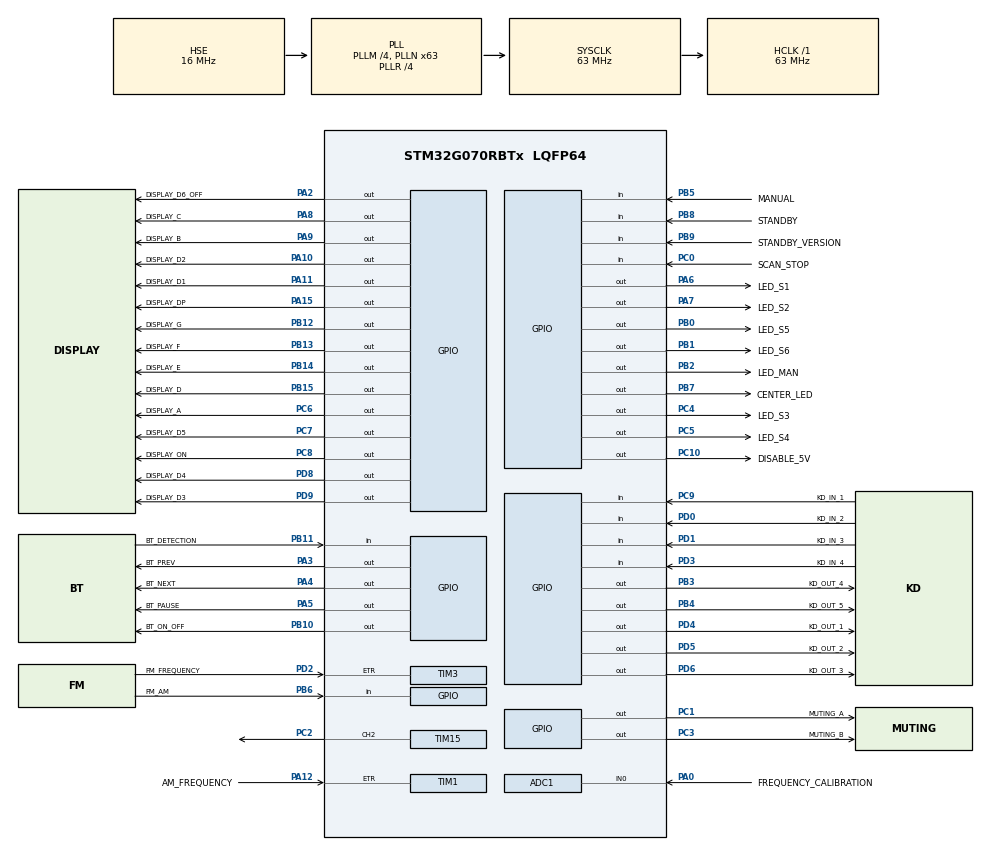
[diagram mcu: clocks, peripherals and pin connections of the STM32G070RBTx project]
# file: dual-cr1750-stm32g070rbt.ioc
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SH.S_TIM1_ETR.0=TIM1_ETR,ClockSourceETR_Mode2
PA12\ [PA10].GPIO_Label=AM_FREQUENCY
PB14.GPIO_Label=DISPLAY_E
PC6.GPIO_Label=DISPLAY_A
VP_RTC_VS_RTC_Activate.Mode=RTC_Enabled
PA6.GPIO_Label=LED_S1
PB6.GPIO_Label=FM_AM
PC15-OSC32_OUT\ (PC15).Mode=LSE-External-Oscillator
PB13.Signal=GPIO_Output
PD6.GPIO_Label=KD_OUT_3
PF0-OSC_IN\ (PF0).Signal=RCC_OSC_IN
RCC.SYSCLKSource=RCC_SYSCLKSOURCE_PLLCLK
PC14-OSC32_IN\ (PC14).Mode=LSE-External-Oscillator
PA12\ [PA10].Signal=S_TIM1_ETR
PD4.Signal=GPIO_Output
PB6.Signal=GPIO_Input
PC7.Signal=GPIO_Output
PC3.Signal=GPIO_Output
PD0.Signal=GPIO_Input
PD8.Signal=GPIO_Output
PC1.PinState=GPIO_PIN_SET
PB2.Signal=GPIO_Output
PC1.GPIO_PuPd=GPIO_PULLUP
RCC.RTCClockSelection=RCC_RTCCLKSOURCE_LSE
PD1.GPIO_Label=KD_IN_3
TIM15.Period=17500
PB12.GPIO_Label=DISPLAY_G
PC4.GPIO_Label=LED_S3
TIM15.Channel-PWM\ Generation2\ CH2=TIM_CHANNEL_2
PB1.GPIO_Label=LED_S6
PA0.Mode=IN0
PA8.Signal=GPIO_Output
ADC1.SamplingTime-0\#ChannelRegularConversion=ADC_SAMPLINGTIME_COMMON_1
PA0.Signal=ADC1_IN0
Mcu.Package=LQFP64
PB9.Signal=GPIO_Input
PB1.Signal=GPIO_Output
PA10.Signal=GPIO_Output
PB9.GPIO_PuPd=GPIO_PULLDOWN
VP_TIM14_VS_ClockSourceINT.Mode=Enable_Timer
TIM16.Prescaler=1000
NVIC.TIM15_IRQn=true\:0\:0\:false\:false\:true\:true\:true
PA4.GPIO_Label=BT_NEXT
ADC1.Rank-0\#ChannelRegularConversion=1
PD9.GPIO_Label=DISPLAY_D3
PC4.PinState=GPIO_PIN_RESET
TIM3.AutoReloadPreload=TIM_AUTORELOAD_PRELOAD_ENABLE
PA9.GPIO_Label=DISPLAY_B
PB6.GPIO_PuPd=GPIO_PULLUP
PD3.Signal=GPIO_Input
PC6.Signal=GPIO_Output
PC2.Signal=S_TIM15_CH2
PB11.GPIO_Label=BT_DETECTION
PD1.Signal=GPIO_Input
VP_TIM16_VS_ClockSourceINT.Mode=Enable_Timer
NVIC.TIM16_IRQn=true\:0\:0\:false\:false\:true\:true\:true
PC0.Signal=GPIO_Input
PF0-OSC_IN\ (PF0).Mode=HSE-External-Oscillator
TIM1.AutoReloadPreload=TIM_AUTORELOAD_PRELOAD_ENABLE
PB8.GPIO_Label=STANDBY
PA8.GPIO_Label=DISPLAY_C
PA9.Signal=GPIO_Output
PB10.Signal=GPIO_Output
PB14.Signal=GPIO_Output
PA5.Signal=GPIO_Output
TIM15.Pulse-PWM\ Generation2\ CH2=200
NVIC.TIM3_IRQn=true\:0\:0\:false\:false\:true\:true\:true
PB4.GPIO_Label=KD_OUT_5
PB15.GPIO_Label=DISPLAY_D
PA13.Mode=Serial_Wire
TIM14.Prescaler=500
NVIC.TIM1_CC_IRQn=true\:0\:0\:false\:false\:true\:true\:true
PC7.GPIO_Label=DISPLAY_D5
PA4.Signal=GPIO_Output
PB5.Signal=GPIO_Input
ADC1.master=1
PF1-OSC_OUT\ (PF1).Signal=RCC_OSC_OUT
PA5.GPIO_Label=BT_PAUSE
PB5.GPIO_PuPd=GPIO_PULLUP
ProjectManager.HeapSize=0x200
PC3.GPIO_Label=MUTING_B
PD2.Signal=S_TIM3_ETR
PB0.Signal=GPIO_Output
NVIC.TIM1_BRK_UP_TRG_COM_IRQn=true\:0\:0\:false\:false\:true\:true\:true
PC1.Signal=GPIO_Output
PD2.GPIO_Label=FM_FREQUENCY
Mcu.Family=STM32G0
TIM15.AutoReloadPreload=TIM_AUTORELOAD_PRELOAD_ENABLE
RCC.CortexFreq_Value=63000000
TIM14.AutoReloadPreload=TIM_AUTORELOAD_PRELOAD_ENABLE
PA11\ [PA9].GPIO_Label=DISPLAY_D1
PC10.Signal=GPIO_Output
PA0.GPIO_Label=FREQUENCY_CALIBRATION
PA14-BOOT0.Mode=Serial_Wire
PD0.GPIO_Label=KD_IN_2
PC0.GPIO_Label=SCAN_STOP
PB0.GPIO_Label=LED_S5
PB11.GPIO_PuPd=GPIO_PULLUP
PB13.GPIO_Label=DISPLAY_F
PB11.Signal=GPIO_Input
PB15.Signal=GPIO_Output
ProjectManager.StackSize=0x400
PC3.PinState=GPIO_PIN_SET
SH.S_TIM15_CH2.0=TIM15_CH2,PWM Generation2 CH2
VP_TIM7_VS_ClockSourceINT.Mode=Enable_Timer
PA15.GPIO_Label=DISPLAY_DP
TIM15.Prescaler=0
RCC.HCLKFreq_Value=63000000
ADC1.Resolution=ADC_RESOLUTION_12B
TIM7.Period=250
RCC.AHBFreq_Value=63000000
PA14-BOOT0.Signal=SYS_SWCLK
ADC1.Channel-0\#ChannelRegularConversion=ADC_CHANNEL_0
RCC.HSE_VALUE=16000000
TIM14.Period=1000
PA10.GPIO_Label=DISPLAY_D2
VP_SYS_VS_DBSignals.Mode=DisableDeadBatterySignals
PB7.Signal=GPIO_Output
TIM6.Period=900
PF1-OSC_OUT\ (PF1).Mode=HSE-External-Oscillator
PB7.GPIO_Label=CENTER_LED
ADC1.SelectedChannel=ADC_CHANNEL_0
PA6.Signal=GPIO_Output
RCC.EnbaleCSS=true
PD5.GPIO_Label=KD_OUT_2
PA2.GPIO_Label=DISPLAY_D6_OFF
PA15.Signal=GPIO_Output
PB5.GPIO_Label=MANUAL
PC5.Signal=GPIO_Output
PD3.GPIO_Label=KD_IN_4
PC0.GPIO_PuPd=GPIO_PULLUP
PD6.Signal=GPIO_Output
NVIC.TIM7_IRQn=true\:0\:0\:false\:false\:true\:true\:true
PB4.Signal=GPIO_Output
PA3.Signal=GPIO_Output
PB3.GPIO_Label=KD_OUT_4
RCC.PLLSourceVirtual=RCC_PLLSOURCE_HSE
NVIC.TIM14_IRQn=true\:0\:0\:false\:false\:true\:true\:true
PB9.GPIO_Label=STANDBY_VERSION
PC10.GPIO_Label=DISABLE_5V
PC9.GPIO_Label=KD_IN_1
PC4.GPIO_PuPd=GPIO_NOPULL
PC8.Signal=GPIO_Output
TIM6.Prescaler=1000
PC4.Signal=GPIO_Output
VP_TIM6_VS_ClockSourceINT.Mode=Enable_Timer
RCC.EXTERNAL_CLOCK_VALUE=48000
PD5.Signal=GPIO_Output
PD9.Signal=GPIO_Output
PC15-OSC32_OUT\ (PC15).Signal=RCC_OSC32_OUT
NVIC.TIM6_IRQn=true\:0\:0\:false\:false\:true\:true\:true
PD8.GPIO_Label=DISPLAY_D4
PC8.GPIO_Label=DISPLAY_ON
PA13.Signal=SYS_SWDIO
ProjectManager.TargetToolchain=STM32CubeIDE
PB10.GPIO_Label=BT_ON_OFF
TIM7.Prescaler=500
board=custom
RCC.VCOOutputFreq_Value=252000000
TIM16.Period=900
PD4.GPIO_Label=KD_OUT_1
RCC.ADCFreq_Value=63000000
PC1.GPIO_Label=MUTING_A
ADC1.NbrOfConversion=1
Mcu.Name=STM32G070RBTx
PA11\ [PA9].Signal=GPIO_Output
SH.S_TIM3_ETR.0=TIM3_ETR,ClockSourceETR_Mode2
PA2.Signal=GPIO_Output
PB3.Signal=GPIO_Output
RCC.SYSCLKFreq_VALUE=63000000
PA7.GPIO_Label=LED_S2
PC5.GPIO_Label=LED_S4
PC14-OSC32_IN\ (PC14).Signal=RCC_OSC32_IN
VP_TIM15_VS_ClockSourceINT.Mode=Internal
PB2.GPIO_Label=LED_MAN
RCC.HSI_VALUE=16000000
PC1.GPIO_ModeDefaultOutputPP=GPIO_MODE_OUTPUT_PP
RCC.PLLR=RCC_PLLR_DIV4
ADC1.NbrOfConversionFlag=1
RCC.PLLM=RCC_PLLM_DIV4
RCC.PLLN=63
PB8.Signal=GPIO_Input
PC9.Signal=GPIO_Input
PB12.Signal=GPIO_Output
PA3.GPIO_Label=BT_PREV
PA7.Signal=GPIO_Output

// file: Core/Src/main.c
/* USER CODE BEGIN Header */
/**
  ******************************************************************************
  * @file           : main.c
  * @brief          : Main program body
  ******************************************************************************
  * @attention
  *
  * <h2><center>&copy; Copyright (c) 2021 STMicroelectronics.
  * All rights reserved.</center></h2>
  *
  * This software component is licensed by ST under BSD 3-Clause license,
  * the "License"; You may not use this file except in compliance with the
  * License. You may obtain a copy of the License at:
  *                        opensource.org/licenses/BSD-3-Clause
  *
  ******************************************************************************
  */
/* USER CODE END Header */
#include "main.h"

/* USER CODE BEGIN Includes */
#include <math.h>
#include <string.h>
#include <stdbool.h>
#include <stdlib.h>

#include "display.h"
#include "station.h"
#include "keydecoder.h"
#include "misc.h"

/* USER CODE END Includes */

ADC_HandleTypeDef hadc1;

RTC_HandleTypeDef hrtc;

TIM_HandleTypeDef htim1;
TIM_HandleTypeDef htim3;
TIM_HandleTypeDef htim6;
TIM_HandleTypeDef htim7;
TIM_HandleTypeDef htim14;
TIM_HandleTypeDef htim15;
TIM_HandleTypeDef htim16;

/* USER CODE BEGIN PV */
RTC_TimeTypeDef TIME = {0};
RTC_DateTypeDef DATE = {0};

int a = 4250;

double FREQUENCY_CALIBRATION = 0.9975;
int FM_FREQUENCY = 8750;
int FM_FREQUENCY_COUNTER = 0;
bool FM_FREQUENCY_COUNTER_UPDATED = false;

Mode MODE = OTHER;
bool CLOCK = false;
int STATION = -1;
bool BLUETOOTH = false;
bool BLUETOOTH_ON = false;

bool STANDBY = true;
bool STANDBY_DISPLAY_ON = true;

bool SET_BUTTON = false;
bool MEMORY_BUTTON = false;

bool LOCK_FREQUENCY = true;
bool SCAN_STOP = false;

int AM_FREQUENCY = 531;
int AM_FREQUENCY_COUNTER = 0;

int OFF_COUNTER = 0;
bool COLD_START = true;

int calculateFMFrequencyControlCounterPeriod(bool fastMode)
{
	// PFUI!
	int fm_difference = abs(FM_FREQUENCY - FM_FREQUENCY_COUNTER);

	int arr = 0;
	if (fastMode)
	{
		arr = 2500 - 500 * fm_difference;
		arr = arr < 250 ? 250 : arr;
	}
	else
	{
		arr = 3500 - abs(1.05 + 0.05 * fm_difference + 0.75 * exp(fm_difference));
		arr = arr < 250 ? 250 : arr;
	}

	return arr;
}

int calculateFMFrequencyControlCounterPrescaler(bool fastMode)
{
	// PFUI!
	double psc = 5000 - ((4 * FM_FREQUENCY_COUNTER) / 9);//4200 - 0.3675 * FM_FREQUENCY_COUNTER;
	if (fastMode)
	{
		psc = psc / 2;
		psc = psc < 110 ? 110 : psc;
	}
	else
	{
		psc = psc * 2.75;
	}

	return psc;
}

void stopFrequencyControl()
{
	HAL_TIM_Base_Stop_IT(&htim14);
}

void startFrequencyControl()
{
	HAL_TIM_Base_Start_IT(&htim14);
}

void HAL_TIM_PeriodElapsedCallback(TIM_HandleTypeDef *htim)
{
	if (htim->Instance == TIM6)
	{
		// 64 = PRESCALER / 7 = DEPENDING ON CPU-FREQUENCY / 10.7 MHz = IF
		FM_FREQUENCY_COUNTER = (((TIM3->CNT * 64 * 7 * FREQUENCY_CALIBRATION) - 1070000) / 1000.0);
		FM_FREQUENCY_COUNTER_UPDATED = true;

		TIM3->CNT = 0;
		TIM6->CNT = 0;
	}

	if (htim->Instance == TIM16)
	{
		// 7 = DEPENDING ON CPU-FREQUENCY / 455 kHz = IF
		AM_FREQUENCY_COUNTER = ((TIM1->CNT * 7 * FREQUENCY_CALIBRATION) / 100.0) - 455;

		TIM1->CNT = 0;
		TIM16->CNT = 0;
	}
	else if (htim->Instance == TIM7)
	{
		int display_value = 0;
		if (CLOCK)
		{
			if (!SET_BUTTON)
			{
				HAL_RTC_GetTime(&hrtc, &TIME, RTC_FORMAT_BIN);
				HAL_RTC_GetDate(&hrtc, &DATE, RTC_FORMAT_BIN);
			}

			display_value = TIME.Hours*100 + TIME.Minutes;
		}
		else if (MODE == FM)
		{
			display_value = SET_BUTTON && !CLOCK ? FM_FREQUENCY_COUNTER : FM_FREQUENCY;
		}
		else
		{
			display_value = SET_BUTTON && !CLOCK ? AM_FREQUENCY_COUNTER : AM_FREQUENCY;
		}

		if (OFF_COUNTER > 0)
		{
			display_show_off();
			OFF_COUNTER -= 1;
		}
		else if (!CLOCK && MODE == AM && BLUETOOTH && STATION == 0)
		{
			display_show_bluetooth();
		}
		else
		{
			display(display_value, (CLOCK && TIME.Seconds %2 == 1) || (!CLOCK && MODE == FM));
		}
	}
	else if (htim->Instance == TIM14)
	{
		if (MODE == FM)
		{
			TIM14->PSC = calculateFMFrequencyControlCounterPrescaler(!LOCK_FREQUENCY);
			TIM14->ARR = calculateFMFrequencyControlCounterPeriod(true);

			SCAN_STOP = !SCAN_STOP ? HAL_GPIO_ReadPin(GPIOC, SCAN_STOP_Pin) : true;

			if (TIM15->CCR2 < TIM15->ARR && FM_FREQUENCY < FM_FREQUENCY_COUNTER)
			{
				TIM15->CCR2++;
			}
			else if (TIM15->CCR2 > 0 && FM_FREQUENCY > FM_FREQUENCY_COUNTER)
			{
				TIM15->CCR2--;
			}

			// SCAN EMERGENCY-STOP
			if ((TIM15->CCR2 == 0) || (TIM15->CCR2 == TIM15->ARR))
			{
				FM_FREQUENCY = ((int)(FM_FREQUENCY_COUNTER / 10)) * 10;
				SCAN_STOP = true;
			}
		}
		else if (MODE == AM)
		{
			int am_difference = abs(AM_FREQUENCY - AM_FREQUENCY_COUNTER);
			int arr = 1500 - 175 * am_difference;
			int psc = 3500 - 0.5 * AM_FREQUENCY_COUNTER;
			TIM14->PSC = psc < 150 ? 150 : psc;
			TIM14->ARR = arr < 50 ? 50 : arr;

			if (TIM15->CCR2 < TIM15->ARR && AM_FREQUENCY < AM_FREQUENCY_COUNTER)
			{
				TIM15->CCR2++;
			}
			else if (TIM15->CCR2 > 0 && AM_FREQUENCY > AM_FREQUENCY_COUNTER)
			{
				TIM15->CCR2--;
			}
		}
	}
}

/* USER CODE END PV */

void SystemClock_Config(void);
static void MX_GPIO_Init(void);
static void MX_ADC1_Init(void);
static void MX_TIM1_Init(void);
static void MX_TIM3_Init(void);
static void MX_TIM6_Init(void);
static void MX_TIM14_Init(void);
static void MX_TIM7_Init(void);
static void MX_RTC_Init(void);
static void MX_TIM15_Init(void);
static void MX_TIM16_Init(void);

/* USER CODE BEGIN 0 */
void saveFMStation()
{
	uint32_t dc = TIM15->CCR2;
	HAL_Delay(100);
	station_fm_set(STATION, FM_FREQUENCY, dc);
}

void saveAMStation()
{
	station_am_set(STATION, AM_FREQUENCY, TIM15->CCR2);
}

void setStation(int number, bool force)
{
	station_led(number);

	Mode mode = misc_get_mode(AM_FREQUENCY_COUNTER);
	bool modeChangedToFM = mode == FM && MODE != FM;
	bool modeChangedToAM = mode == AM && MODE != AM;

	if (modeChangedToFM || MODE == FM && (STATION != number || force))
	{
		setFMStation(number);
	}
	else if (modeChangedToAM || MODE == AM && (STATION != number || force))
	{
		setAMStation(number);
	}
}

void setFMStation(int number)
{
	STATION = number;
	misc_mute(true);

	stopFrequencyControl();
	struct Station station = station_fm_get(number);
	FM_FREQUENCY = station.Frequency;
	TIM15->CCR2 = station.DutyCycle;

	HAL_GPIO_WritePin(GPIOB, CENTER_LED_Pin, GPIO_PIN_SET);

	FM_FREQUENCY_COUNTER_UPDATED = false;
	while (!FM_FREQUENCY_COUNTER_UPDATED);
	FM_FREQUENCY_COUNTER_UPDATED = false;

	startFrequencyControl();

	int i = 0;
	LOCK_FREQUENCY = false;
	for(; i < 500 && abs(FM_FREQUENCY - FM_FREQUENCY_COUNTER) > 2; i++)
	{
		HAL_Delay(1);
	}
	LOCK_FREQUENCY = true;

	HAL_Delay(500 - i);
	misc_mute(false);
	HAL_GPIO_WritePin(GPIOB, CENTER_LED_Pin, GPIO_PIN_RESET);
}

void setAMStation(int number)
{
	STATION = number;
	misc_mute(true);

	struct Station station = station_am_get(number);
	AM_FREQUENCY = station.Frequency;
	TIM15->CCR2 = station.DutyCycle;

	HAL_Delay(500);
	misc_mute(false);
}

double getCalibrationValue()
{
	uint32_t y = 0;

	for (int i = 0; i < 5; i++)
	{
		HAL_ADC_Start(&hadc1);
		HAL_ADC_PollForConversion(&hadc1, HAL_MAX_DELAY);
		int x = HAL_ADC_GetValue(&hadc1);

		y += x / 5;
	}

	// +/- 0.5%
	double value = 0.995 + 0.000002442 * y;

	return value;
}

void enable_5volt(bool on)
{
	HAL_GPIO_WritePin(GPIOC, DISABLE_5V_Pin, on);
}

/* USER CODE END 0 */

int main(void)
{

  /* MCU Configuration--------------------------------------------------------*/

  /* Reset of all peripherals, Initializes the Flash interface and the Systick. */
  HAL_Init();

  /* Configure the system clock */
  SystemClock_Config();

  /* Initialize all configured peripherals */
  MX_GPIO_Init();
  MX_ADC1_Init();
  MX_TIM1_Init();
  MX_TIM3_Init();
  MX_TIM6_Init();
  MX_TIM14_Init();
  MX_TIM7_Init();
  MX_RTC_Init();
  MX_TIM15_Init();
  MX_TIM16_Init();
  /* USER CODE BEGIN 2 */
  misc_mute(true);

  HAL_TIM_Base_Start(&htim1); 					// AM FRECQUENCY ETR
  HAL_TIM_Base_Start(&htim3); 					// FM FRECQUENCY ETR
  HAL_TIM_Base_Start_IT(&htim6); 				// FM FRECQUENCY COUNT PERIOD
  HAL_TIM_Base_Start_IT(&htim16); 				// AM FRECQUENCY COUNT PERIOD
  HAL_TIM_Base_Start_IT(&htim7);				// DISPLAY MULTIPLEXING
  HAL_TIM_PWM_Start(&htim15, TIM_CHANNEL_2); 	// TUNING VOLTAGE PWM
  startFrequencyControl();

  display_on(true);
  enable_5volt(true);
  MODE = misc_get_mode(AM_FREQUENCY_COUNTER);
  BLUETOOTH = misc_bt_is_present();
  /* USER CODE END 2 */

  /* Infinite loop */
  /* USER CODE BEGIN WHILE */
  while (1)
  {
	  FREQUENCY_CALIBRATION = getCalibrationValue();

	  bool standby = misc_is_standby();
	  bool poweredOn = STANDBY && !standby;
	  bool poweredOff = !STANDBY && standby;
	  if (poweredOn)
	  {
		  STANDBY = false;
		  OFF_COUNTER = 0;
		  enable_5volt(true);
		  display_on(true);
		  startFrequencyControl();

		  // Standby detection is delayed, set station again to prevent timer duty cycle drift.
		  setStation(STATION, true);
	  }
	  else if (poweredOff)
	  {
		  STANDBY = true;

		  if (COLD_START)
		  {
			  OFF_COUNTER = 1000;
			  COLD_START = false;
		  }

		  enable_5volt(false);
		  display_on(STANDBY_DISPLAY_ON);
		  stopFrequencyControl();
	  }

	  Mode mode = misc_get_mode(AM_FREQUENCY_COUNTER);
	  bool modeChangedToOther = mode == OTHER && MODE != OTHER;
	  bool modeChangedToFMorAM = (mode == FM && MODE != FM) || (mode == AM && MODE != AM);
	  MODE = mode;

	  if (modeChangedToOther)
	  {
		  stopFrequencyControl();
	  }
	  else if (modeChangedToFMorAM)
	  {
		  // Mode detection is delayed, set station again to prevent timer duty cycle drift.
		  setStation(STATION, true);
		  startFrequencyControl();
	  }

	  keydecoder_out(1);
	  CLOCK = keydecoder_in(1);
	  SET_BUTTON = keydecoder_in(2);

	  keydecoder_out(2);
	  if (!STANDBY && keydecoder_in(2) && keydecoder_in(3))
	  {
		  // TUNING UP QUICK
		  LOCK_FREQUENCY = false;
		  if (MODE == FM && FM_FREQUENCY < 10800)
		  {
			  FM_FREQUENCY += 5;
			  HAL_Delay(30);
		  }
		  else if (MODE == AM && AM_FREQUENCY < 1602 && !BLUETOOTH)
		  {
			  AM_FREQUENCY += 9;
			  HAL_Delay(50);
		  }
		  else if (MODE == AM && BLUETOOTH && STATION == 0)
		  {
			  misc_bt_pause();
		  }
		  LOCK_FREQUENCY = true;
	  }
	  else if (!STANDBY && keydecoder_in(2) && keydecoder_in(4))
	  {
		  // TUNING DOWN QUICK
		  LOCK_FREQUENCY = false;
		  if (MODE == FM && FM_FREQUENCY > 8750)
		  {
			  FM_FREQUENCY -= 5;
			  HAL_Delay(30);
		  }
		  else if (MODE == AM && AM_FREQUENCY > 531 && !BLUETOOTH)
		  {
			  AM_FREQUENCY -= 9;
			  HAL_Delay(50);
		  }
		  else if (MODE == AM && BLUETOOTH && STATION == 0)
		  {
			  misc_bt_pause();
		  }
		  LOCK_FREQUENCY = true;
	  }
	  else if (!STANDBY && keydecoder_in(1))
	  {
		  // SCAN DOWN
		  if (MODE == FM)
		  {
			  misc_mute(true);
			  LOCK_FREQUENCY = false;

			  for (int i = 0; i < 2 && FM_FREQUENCY > 8750; i++)
			  {
				  FM_FREQUENCY -= 5;
				  HAL_Delay(20);
				  while ((abs(FM_FREQUENCY_COUNTER - FM_FREQUENCY)) > 4);
			  }

			  SCAN_STOP = false;

			  do
			  {
				  FM_FREQUENCY -= 5;
				  HAL_Delay(20);
				  while ((abs(FM_FREQUENCY_COUNTER - FM_FREQUENCY)) > 4);
			  } while (!SCAN_STOP && FM_FREQUENCY > 8750);

			  if (FM_FREQUENCY % 10 == 5)
			  {
				  FM_FREQUENCY += 5;
			  }

			  HAL_Delay(250);
			  LOCK_FREQUENCY = true;
			  misc_mute(false);
		  }
	  }
	  else if (!STANDBY && keydecoder_in(2))
	  {
		  // SCAN UP
		  if (MODE == FM)
		  {
			  misc_mute(true);
			  LOCK_FREQUENCY = false;

			  for (int i = 0; i < 2 && FM_FREQUENCY < 10800; i++)
			  {
				  FM_FREQUENCY += 5;
				  HAL_Delay(20);
				  while ((abs(FM_FREQUENCY_COUNTER - FM_FREQUENCY)) > 4);
			  }

			  SCAN_STOP = false;

			  do
			  {
				  FM_FREQUENCY += 5;
				  HAL_Delay(20);
				  while ((abs(FM_FREQUENCY_COUNTER - FM_FREQUENCY)) > 4);
			  } while (!SCAN_STOP && FM_FREQUENCY < 10800);

			  if (FM_FREQUENCY % 10 == 5)
			  {
				  FM_FREQUENCY -= 5;
			  }

			  HAL_Delay(250);
			  LOCK_FREQUENCY = true;
			  misc_mute(false);
		  }
	  }
	  else if (!STANDBY && keydecoder_in(3))
	  {
		  // TUNING UP
		  if (MODE == FM && FM_FREQUENCY < 10800)
		  {
			  FM_FREQUENCY += 5;
			  HAL_Delay(200);
		  }
		  else if (MODE == AM && AM_FREQUENCY < 1602 && !BLUETOOTH)
		  {
			  AM_FREQUENCY += 9;
			  HAL_Delay(200);
		  }
		  else if (MODE == AM && BLUETOOTH && STATION == 0)
		  {
			  misc_bt_next();
		  }
	  }
	  else if (!STANDBY && keydecoder_in(4))
	  {
		  // TUNING DOWN
		  if (MODE == FM && FM_FREQUENCY > 8750)
		  {
			  FM_FREQUENCY -= 5;
			  HAL_Delay(200);
		  }
		  else if (MODE == AM && AM_FREQUENCY > 531 && !BLUETOOTH)
		  {
			  AM_FREQUENCY -= 9;
			  HAL_Delay(200);
		  }
		  else if (MODE == AM && BLUETOOTH && STATION == 0)
		  {
			  misc_bt_prev();
		  }
	  }

	  keydecoder_out(3);
	  if (CLOCK && SET_BUTTON && keydecoder_in(1))
	  {
		  // MIN
		  HAL_RTC_GetTime(&hrtc, &TIME, RTC_FORMAT_BIN);
		  HAL_RTC_GetDate(&hrtc, &DATE, RTC_FORMAT_BIN);

		  if (TIME.Minutes == 59)
		  {
			  TIME.Minutes = 0;
		  }
		  else
		  {
			  TIME.Minutes++;
		  }

		  HAL_Delay(200);
		  HAL_RTC_SetTime(&hrtc, &TIME, RTC_FORMAT_BIN);
	  }
	  else if (CLOCK && SET_BUTTON && keydecoder_in(2))
	  {
		  // HOURS
		  HAL_RTC_GetTime(&hrtc, &TIME, RTC_FORMAT_BIN);
		  HAL_RTC_GetDate(&hrtc, &DATE, RTC_FORMAT_BIN);

		  if (TIME.Hours == 23)
		  {
			  TIME.Hours = 0;
		  }
		  else
		  {
			  TIME.Hours++;
		  }

		  HAL_Delay(200);
		  HAL_RTC_SetTime(&hrtc, &TIME, RTC_FORMAT_BIN);
	  }
	  else if (keydecoder_in(3))
	  {
		  // MEMORY
		  if (!STANDBY && !MEMORY_BUTTON && MODE == FM)
		  {
			  saveFMStation();
			  MEMORY_BUTTON = true;
		  }
		  else if (!STANDBY && !MEMORY_BUTTON && MODE == AM)
		  {
			  saveAMStation();
			  MEMORY_BUTTON = true;
		  }
		  else if (STANDBY)
		  {
			  STANDBY_DISPLAY_ON = !STANDBY_DISPLAY_ON;
			  display_on(STANDBY_DISPLAY_ON);
			  HAL_Delay(500);
		  }
	  }
	  else if (!keydecoder_in(3))
	  {
		  MEMORY_BUTTON = false;
	  }

	  keydecoder_out(4);
	  if (!STANDBY && keydecoder_in(2))
	  {
		  // S3
		  setStation(3, false);
	  }
	  else if (!STANDBY && keydecoder_in(3))
	  {
		  // S2
		  setStation(2, false);
	  }
	  else if (!STANDBY && keydecoder_in(4))
	  {
		  // S1
		  setStation(1, false);
	  }

	  keydecoder_out(5);
	  if (!STANDBY && keydecoder_in(2))
	  {
		  // S6
		  setStation(6, false);
	  }
	  else if (!STANDBY && keydecoder_in(3))
	  {
		  // S5
		  setStation(5, false);
	  }
	  else if (!STANDBY && keydecoder_in(4))
	  {
		  // S4
		  setStation(4, false);
	  }

	  // If station buttons are broken and do not lock properly set MAN as default.
	  if (misc_is_manual() || STATION == -1)
	  {
		  setStation(0, false);
	  }

	  if (BLUETOOTH && MODE == AM && STATION == 0)
	  {
		  misc_mute(true);

		  if (!BLUETOOTH_ON)
		  {
			  misc_bt_on();
			  BLUETOOTH_ON = true;
		  }
	  }
	  else if (BLUETOOTH && (MODE != AM || MODE == AM && STATION != 0))
	  {
		  if (BLUETOOTH_ON)
		  {
			  misc_bt_off();
			  BLUETOOTH_ON = false;
		  }
	  }

    /* USER CODE END WHILE */

  }
}

void SystemClock_Config(void)
{
  RCC_OscInitTypeDef RCC_OscInitStruct = {0};
  RCC_ClkInitTypeDef RCC_ClkInitStruct = {0};
  RCC_PeriphCLKInitTypeDef PeriphClkInit = {0};

  /** Configure the main internal regulator output voltage
  */
  HAL_PWREx_ControlVoltageScaling(PWR_REGULATOR_VOLTAGE_SCALE1);
  /** Configure LSE Drive Capability
  */
  HAL_PWR_EnableBkUpAccess();
  __HAL_RCC_LSEDRIVE_CONFIG(RCC_LSEDRIVE_LOW);
  /** Initializes the RCC Oscillators according to the specified parameters
  * in the RCC_OscInitTypeDef structure.
  */
  RCC_OscInitStruct.OscillatorType = RCC_OSCILLATORTYPE_HSE|RCC_OSCILLATORTYPE_LSE;
  RCC_OscInitStruct.HSEState = RCC_HSE_ON;
  RCC_OscInitStruct.LSEState = RCC_LSE_ON;
  RCC_OscInitStruct.PLL.PLLState = RCC_PLL_ON;
  RCC_OscInitStruct.PLL.PLLSource = RCC_PLLSOURCE_HSE;
  RCC_OscInitStruct.PLL.PLLM = RCC_PLLM_DIV4;
  RCC_OscInitStruct.PLL.PLLN = 63;
  RCC_OscInitStruct.PLL.PLLP = RCC_PLLP_DIV2;
  RCC_OscInitStruct.PLL.PLLR = RCC_PLLR_DIV4;
  if (HAL_RCC_OscConfig(&RCC_OscInitStruct) != HAL_OK)
  {
    Error_Handler();
  }
  /** Initializes the CPU, AHB and APB buses clocks
  */
  RCC_ClkInitStruct.ClockType = RCC_CLOCKTYPE_HCLK|RCC_CLOCKTYPE_SYSCLK
                              |RCC_CLOCKTYPE_PCLK1;
  RCC_ClkInitStruct.SYSCLKSource = RCC_SYSCLKSOURCE_PLLCLK;
  RCC_ClkInitStruct.AHBCLKDivider = RCC_SYSCLK_DIV1;
  RCC_ClkInitStruct.APB1CLKDivider = RCC_HCLK_DIV1;

  if (HAL_RCC_ClockConfig(&RCC_ClkInitStruct, FLASH_LATENCY_2) != HAL_OK)
  {
    Error_Handler();
  }
  /** Initializes the peripherals clocks
  */
  PeriphClkInit.PeriphClockSelection = RCC_PERIPHCLK_RTC|RCC_PERIPHCLK_ADC;
  PeriphClkInit.AdcClockSelection = RCC_ADCCLKSOURCE_SYSCLK;
  PeriphClkInit.RTCClockSelection = RCC_RTCCLKSOURCE_LSE;

  if (HAL_RCCEx_PeriphCLKConfig(&PeriphClkInit) != HAL_OK)
  {
    Error_Handler();
  }
  /** Enables the Clock Security System
  */
  HAL_RCC_EnableCSS();
}

static void MX_ADC1_Init(void)
{

  ADC_ChannelConfTypeDef sConfig = {0};

  /** Configure the global features of the ADC (Clock, Resolution, Data Alignment and number of conversion)
  */
  hadc1.Instance = ADC1;
  hadc1.Init.ClockPrescaler = ADC_CLOCK_SYNC_PCLK_DIV4;
  hadc1.Init.Resolution = ADC_RESOLUTION_12B;
  hadc1.Init.DataAlign = ADC_DATAALIGN_RIGHT;
  hadc1.Init.ScanConvMode = ADC_SCAN_DISABLE;
  hadc1.Init.EOCSelection = ADC_EOC_SINGLE_CONV;
  hadc1.Init.LowPowerAutoWait = DISABLE;
  hadc1.Init.LowPowerAutoPowerOff = DISABLE;
  hadc1.Init.ContinuousConvMode = DISABLE;
  hadc1.Init.NbrOfConversion = 1;
  hadc1.Init.DiscontinuousConvMode = DISABLE;
  hadc1.Init.ExternalTrigConv = ADC_SOFTWARE_START;
  hadc1.Init.ExternalTrigConvEdge = ADC_EXTERNALTRIGCONVEDGE_NONE;
  hadc1.Init.DMAContinuousRequests = DISABLE;
  hadc1.Init.Overrun = ADC_OVR_DATA_PRESERVED;
  hadc1.Init.SamplingTimeCommon1 = ADC_SAMPLETIME_1CYCLE_5;
  hadc1.Init.SamplingTimeCommon2 = ADC_SAMPLETIME_1CYCLE_5;
  hadc1.Init.OversamplingMode = DISABLE;
  hadc1.Init.TriggerFrequencyMode = ADC_TRIGGER_FREQ_HIGH;
  if (HAL_ADC_Init(&hadc1) != HAL_OK)
  {
    Error_Handler();
  }
  /** Configure Regular Channel
  */
  sConfig.Channel = ADC_CHANNEL_0;
  sConfig.Rank = ADC_REGULAR_RANK_1;
  sConfig.SamplingTime = ADC_SAMPLINGTIME_COMMON_1;
  if (HAL_ADC_ConfigChannel(&hadc1, &sConfig) != HAL_OK)
  {
    Error_Handler();
  }

}

static void MX_RTC_Init(void)
{

  /** Initialize RTC Only
  */
  hrtc.Instance = RTC;
  hrtc.Init.HourFormat = RTC_HOURFORMAT_24;
  hrtc.Init.AsynchPrediv = 127;
  hrtc.Init.SynchPrediv = 255;
  hrtc.Init.OutPut = RTC_OUTPUT_DISABLE;
  hrtc.Init.OutPutRemap = RTC_OUTPUT_REMAP_NONE;
  hrtc.Init.OutPutPolarity = RTC_OUTPUT_POLARITY_HIGH;
  hrtc.Init.OutPutType = RTC_OUTPUT_TYPE_OPENDRAIN;
  hrtc.Init.OutPutPullUp = RTC_OUTPUT_PULLUP_NONE;
  if (HAL_RTC_Init(&hrtc) != HAL_OK)
  {
    Error_Handler();
  }

}

static void MX_TIM1_Init(void)
{

  TIM_ClockConfigTypeDef sClockSourceConfig = {0};
  TIM_MasterConfigTypeDef sMasterConfig = {0};

  htim1.Instance = TIM1;
  htim1.Init.Prescaler = 0;
  htim1.Init.CounterMode = TIM_COUNTERMODE_UP;
  htim1.Init.Period = 65535;
  htim1.Init.ClockDivision = TIM_CLOCKDIVISION_DIV1;
  htim1.Init.RepetitionCounter = 0;
  htim1.Init.AutoReloadPreload = TIM_AUTORELOAD_PRELOAD_ENABLE;
  if (HAL_TIM_Base_Init(&htim1) != HAL_OK)
  {
    Error_Handler();
  }
  sClockSourceConfig.ClockSource = TIM_CLOCKSOURCE_ETRMODE2;
  sClockSourceConfig.ClockPolarity = TIM_CLOCKPOLARITY_NONINVERTED;
  sClockSourceConfig.ClockPrescaler = TIM_CLOCKPRESCALER_DIV1;
  sClockSourceConfig.ClockFilter = 0;
  if (HAL_TIM_ConfigClockSource(&htim1, &sClockSourceConfig) != HAL_OK)
  {
    Error_Handler();
  }
  sMasterConfig.MasterOutputTrigger = TIM_TRGO_RESET;
  sMasterConfig.MasterOutputTrigger2 = TIM_TRGO2_RESET;
  sMasterConfig.MasterSlaveMode = TIM_MASTERSLAVEMODE_DISABLE;
  if (HAL_TIMEx_MasterConfigSynchronization(&htim1, &sMasterConfig) != HAL_OK)
  {
    Error_Handler();
  }

}

static void MX_TIM3_Init(void)
{

  TIM_ClockConfigTypeDef sClockSourceConfig = {0};
  TIM_MasterConfigTypeDef sMasterConfig = {0};

  htim3.Instance = TIM3;
  htim3.Init.Prescaler = 0;
  htim3.Init.CounterMode = TIM_COUNTERMODE_UP;
  htim3.Init.Period = 65535;
  htim3.Init.ClockDivision = TIM_CLOCKDIVISION_DIV1;
  htim3.Init.AutoReloadPreload = TIM_AUTORELOAD_PRELOAD_ENABLE;
  if (HAL_TIM_Base_Init(&htim3) != HAL_OK)
  {
    Error_Handler();
  }
  sClockSourceConfig.ClockSource = TIM_CLOCKSOURCE_ETRMODE2;
  sClockSourceConfig.ClockPolarity = TIM_CLOCKPOLARITY_NONINVERTED;
  sClockSourceConfig.ClockPrescaler = TIM_CLOCKPRESCALER_DIV1;
  sClockSourceConfig.ClockFilter = 0;
  if (HAL_TIM_ConfigClockSource(&htim3, &sClockSourceConfig) != HAL_OK)
  {
    Error_Handler();
  }
  sMasterConfig.MasterOutputTrigger = TIM_TRGO_RESET;
  sMasterConfig.MasterSlaveMode = TIM_MASTERSLAVEMODE_DISABLE;
  if (HAL_TIMEx_MasterConfigSynchronization(&htim3, &sMasterConfig) != HAL_OK)
  {
    Error_Handler();
  }

}

static void MX_TIM6_Init(void)
{

  TIM_MasterConfigTypeDef sMasterConfig = {0};

  htim6.Instance = TIM6;
  htim6.Init.Prescaler = 1000;
  htim6.Init.CounterMode = TIM_COUNTERMODE_UP;
  htim6.Init.Period = 900;
  htim6.Init.AutoReloadPreload = TIM_AUTORELOAD_PRELOAD_DISABLE;
  if (HAL_TIM_Base_Init(&htim6) != HAL_OK)
  {
    Error_Handler();
  }
  sMasterConfig.MasterOutputTrigger = TIM_TRGO_RESET;
  sMasterConfig.MasterSlaveMode = TIM_MASTERSLAVEMODE_DISABLE;
  if (HAL_TIMEx_MasterConfigSynchronization(&htim6, &sMasterConfig) != HAL_OK)
  {
    Error_Handler();
  }

}

static void MX_TIM7_Init(void)
{

  TIM_MasterConfigTypeDef sMasterConfig = {0};

  htim7.Instance = TIM7;
  htim7.Init.Prescaler = 500;
  htim7.Init.CounterMode = TIM_COUNTERMODE_UP;
  htim7.Init.Period = 250;
  htim7.Init.AutoReloadPreload = TIM_AUTORELOAD_PRELOAD_DISABLE;
  if (HAL_TIM_Base_Init(&htim7) != HAL_OK)
  {
    Error_Handler();
  }
  sMasterConfig.MasterOutputTrigger = TIM_TRGO_RESET;
  sMasterConfig.MasterSlaveMode = TIM_MASTERSLAVEMODE_DISABLE;
  if (HAL_TIMEx_MasterConfigSynchronization(&htim7, &sMasterConfig) != HAL_OK)
  {
    Error_Handler();
  }

}

static void MX_TIM14_Init(void)
{

  htim14.Instance = TIM14;
  htim14.Init.Prescaler = 500;
  htim14.Init.CounterMode = TIM_COUNTERMODE_UP;
  htim14.Init.Period = 1000;
  htim14.Init.ClockDivision = TIM_CLOCKDIVISION_DIV1;
  htim14.Init.AutoReloadPreload = TIM_AUTORELOAD_PRELOAD_ENABLE;
  if (HAL_TIM_Base_Init(&htim14) != HAL_OK)
  {
    Error_Handler();
  }

}

static void MX_TIM15_Init(void)
{

  TIM_ClockConfigTypeDef sClockSourceConfig = {0};
  TIM_MasterConfigTypeDef sMasterConfig = {0};
  TIM_OC_InitTypeDef sConfigOC = {0};
  TIM_BreakDeadTimeConfigTypeDef sBreakDeadTimeConfig = {0};

  htim15.Instance = TIM15;
  htim15.Init.Prescaler = 0;
  htim15.Init.CounterMode = TIM_COUNTERMODE_UP;
  htim15.Init.Period = 17500;
  htim15.Init.ClockDivision = TIM_CLOCKDIVISION_DIV1;
  htim15.Init.RepetitionCounter = 0;
  htim15.Init.AutoReloadPreload = TIM_AUTORELOAD_PRELOAD_ENABLE;
  if (HAL_TIM_Base_Init(&htim15) != HAL_OK)
  {
    Error_Handler();
  }
  sClockSourceConfig.ClockSource = TIM_CLOCKSOURCE_INTERNAL;
  if (HAL_TIM_ConfigClockSource(&htim15, &sClockSourceConfig) != HAL_OK)
  {
    Error_Handler();
  }
  if (HAL_TIM_PWM_Init(&htim15) != HAL_OK)
  {
    Error_Handler();
  }
  sMasterConfig.MasterOutputTrigger = TIM_TRGO_RESET;
  sMasterConfig.MasterSlaveMode = TIM_MASTERSLAVEMODE_DISABLE;
  if (HAL_TIMEx_MasterConfigSynchronization(&htim15, &sMasterConfig) != HAL_OK)
  {
    Error_Handler();
  }
  sConfigOC.OCMode = TIM_OCMODE_PWM1;
  sConfigOC.Pulse = 200;
  sConfigOC.OCPolarity = TIM_OCPOLARITY_HIGH;
  sConfigOC.OCNPolarity = TIM_OCNPOLARITY_HIGH;
  sConfigOC.OCFastMode = TIM_OCFAST_DISABLE;
  sConfigOC.OCIdleState = TIM_OCIDLESTATE_RESET;
  sConfigOC.OCNIdleState = TIM_OCNIDLESTATE_RESET;
  if (HAL_TIM_PWM_ConfigChannel(&htim15, &sConfigOC, TIM_CHANNEL_2) != HAL_OK)
  {
    Error_Handler();
  }
  sBreakDeadTimeConfig.OffStateRunMode = TIM_OSSR_DISABLE;
  sBreakDeadTimeConfig.OffStateIDLEMode = TIM_OSSI_DISABLE;
  sBreakDeadTimeConfig.LockLevel = TIM_LOCKLEVEL_OFF;
  sBreakDeadTimeConfig.DeadTime = 0;
  sBreakDeadTimeConfig.BreakState = TIM_BREAK_DISABLE;
  sBreakDeadTimeConfig.BreakPolarity = TIM_BREAKPOLARITY_HIGH;
  sBreakDeadTimeConfig.BreakFilter = 0;
  sBreakDeadTimeConfig.AutomaticOutput = TIM_AUTOMATICOUTPUT_DISABLE;
  if (HAL_TIMEx_ConfigBreakDeadTime(&htim15, &sBreakDeadTimeConfig) != HAL_OK)
  {
    Error_Handler();
  }
  HAL_TIM_MspPostInit(&htim15);

}

static void MX_TIM16_Init(void)
{

  htim16.Instance = TIM16;
  htim16.Init.Prescaler = 1000;
  htim16.Init.CounterMode = TIM_COUNTERMODE_UP;
  htim16.Init.Period = 900;
  htim16.Init.ClockDivision = TIM_CLOCKDIVISION_DIV1;
  htim16.Init.RepetitionCounter = 0;
  htim16.Init.AutoReloadPreload = TIM_AUTORELOAD_PRELOAD_DISABLE;
  if (HAL_TIM_Base_Init(&htim16) != HAL_OK)
  {
    Error_Handler();
  }

}

static void MX_GPIO_Init(void)
{
  GPIO_InitTypeDef GPIO_InitStruct = {0};

  /* GPIO Ports Clock Enable */
  __HAL_RCC_GPIOC_CLK_ENABLE();
  __HAL_RCC_GPIOF_CLK_ENABLE();
  __HAL_RCC_GPIOA_CLK_ENABLE();
  __HAL_RCC_GPIOB_CLK_ENABLE();
  __HAL_RCC_GPIOD_CLK_ENABLE();

  /*Configure GPIO pin Output Level */
  HAL_GPIO_WritePin(GPIOC, MUTING_A_Pin|MUTING_B_Pin, GPIO_PIN_SET);

  /*Configure GPIO pin Output Level */
  HAL_GPIO_WritePin(GPIOA, DISPLAY_D6_OFF_Pin|BT_PREV_Pin|BT_NEXT_Pin|BT_PAUSE_Pin
                          |LED_S1_Pin|LED_S2_Pin|DISPLAY_C_Pin|DISPLAY_B_Pin
                          |DISPLAY_D2_Pin|DISPLAY_D1_Pin|DISPLAY_DP_Pin, GPIO_PIN_RESET);

  /*Configure GPIO pin Output Level */
  HAL_GPIO_WritePin(GPIOC, LED_S3_Pin|LED_S4_Pin|DISPLAY_A_Pin|DISPLAY_D5_Pin
                          |DISPLAY_ON_Pin|DISABLE_5V_Pin, GPIO_PIN_RESET);

  /*Configure GPIO pin Output Level */
  HAL_GPIO_WritePin(GPIOB, LED_S5_Pin|LED_S6_Pin|LED_MAN_Pin|BT_ON_OFF_Pin
                          |DISPLAY_G_Pin|DISPLAY_F_Pin|DISPLAY_E_Pin|DISPLAY_D_Pin
                          |KD_OUT_4_Pin|KD_OUT_5_Pin|CENTER_LED_Pin, GPIO_PIN_RESET);

  /*Configure GPIO pin Output Level */
  HAL_GPIO_WritePin(GPIOD, DISPLAY_D4_Pin|DISPLAY_D3_Pin|KD_OUT_1_Pin|KD_OUT_2_Pin
                          |KD_OUT_3_Pin, GPIO_PIN_RESET);

  /*Configure GPIO pin : SCAN_STOP_Pin */
  GPIO_InitStruct.Pin = SCAN_STOP_Pin;
  GPIO_InitStruct.Mode = GPIO_MODE_INPUT;
  GPIO_InitStruct.Pull = GPIO_PULLUP;
  HAL_GPIO_Init(SCAN_STOP_GPIO_Port, &GPIO_InitStruct);

  /*Configure GPIO pin : MUTING_A_Pin */
  GPIO_InitStruct.Pin = MUTING_A_Pin;
  GPIO_InitStruct.Mode = GPIO_MODE_OUTPUT_PP;
  GPIO_InitStruct.Pull = GPIO_PULLUP;
  GPIO_InitStruct.Speed = GPIO_SPEED_FREQ_LOW;
  HAL_GPIO_Init(MUTING_A_GPIO_Port, &GPIO_InitStruct);

  /*Configure GPIO pins : MUTING_B_Pin LED_S3_Pin LED_S4_Pin DISPLAY_A_Pin
                           DISPLAY_D5_Pin DISPLAY_ON_Pin DISABLE_5V_Pin */
  GPIO_InitStruct.Pin = MUTING_B_Pin|LED_S3_Pin|LED_S4_Pin|DISPLAY_A_Pin
                          |DISPLAY_D5_Pin|DISPLAY_ON_Pin|DISABLE_5V_Pin;
  GPIO_InitStruct.Mode = GPIO_MODE_OUTPUT_PP;
  GPIO_InitStruct.Pull = GPIO_NOPULL;
  GPIO_InitStruct.Speed = GPIO_SPEED_FREQ_LOW;
  HAL_GPIO_Init(GPIOC, &GPIO_InitStruct);

  /*Configure GPIO pins : DISPLAY_D6_OFF_Pin BT_PREV_Pin BT_NEXT_Pin BT_PAUSE_Pin
                           LED_S1_Pin LED_S2_Pin DISPLAY_C_Pin DISPLAY_B_Pin
                           DISPLAY_D2_Pin DISPLAY_D1_Pin DISPLAY_DP_Pin */
  GPIO_InitStruct.Pin = DISPLAY_D6_OFF_Pin|BT_PREV_Pin|BT_NEXT_Pin|BT_PAUSE_Pin
                          |LED_S1_Pin|LED_S2_Pin|DISPLAY_C_Pin|DISPLAY_B_Pin
                          |DISPLAY_D2_Pin|DISPLAY_D1_Pin|DISPLAY_DP_Pin;
  GPIO_InitStruct.Mode = GPIO_MODE_OUTPUT_PP;
  GPIO_InitStruct.Pull = GPIO_NOPULL;
  GPIO_InitStruct.Speed = GPIO_SPEED_FREQ_LOW;
  HAL_GPIO_Init(GPIOA, &GPIO_InitStruct);

  /*Configure GPIO pins : LED_S5_Pin LED_S6_Pin LED_MAN_Pin BT_ON_OFF_Pin
                           DISPLAY_G_Pin DISPLAY_F_Pin DISPLAY_E_Pin DISPLAY_D_Pin
                           KD_OUT_4_Pin KD_OUT_5_Pin CENTER_LED_Pin */
  GPIO_InitStruct.Pin = LED_S5_Pin|LED_S6_Pin|LED_MAN_Pin|BT_ON_OFF_Pin
                          |DISPLAY_G_Pin|DISPLAY_F_Pin|DISPLAY_E_Pin|DISPLAY_D_Pin
                          |KD_OUT_4_Pin|KD_OUT_5_Pin|CENTER_LED_Pin;
  GPIO_InitStruct.Mode = GPIO_MODE_OUTPUT_PP;
  GPIO_InitStruct.Pull = GPIO_NOPULL;
  GPIO_InitStruct.Speed = GPIO_SPEED_FREQ_LOW;
  HAL_GPIO_Init(GPIOB, &GPIO_InitStruct);

  /*Configure GPIO pins : BT_DETECTION_Pin MANUAL_Pin FM_AM_Pin */
  GPIO_InitStruct.Pin = BT_DETECTION_Pin|MANUAL_Pin|FM_AM_Pin;
  GPIO_InitStruct.Mode = GPIO_MODE_INPUT;
  GPIO_InitStruct.Pull = GPIO_PULLUP;
  HAL_GPIO_Init(GPIOB, &GPIO_InitStruct);

  /*Configure GPIO pins : DISPLAY_D4_Pin DISPLAY_D3_Pin KD_OUT_1_Pin KD_OUT_2_Pin
                           KD_OUT_3_Pin */
  GPIO_InitStruct.Pin = DISPLAY_D4_Pin|DISPLAY_D3_Pin|KD_OUT_1_Pin|KD_OUT_2_Pin
                          |KD_OUT_3_Pin;
  GPIO_InitStruct.Mode = GPIO_MODE_OUTPUT_PP;
  GPIO_InitStruct.Pull = GPIO_NOPULL;
  GPIO_InitStruct.Speed = GPIO_SPEED_FREQ_LOW;
  HAL_GPIO_Init(GPIOD, &GPIO_InitStruct);

  /*Configure GPIO pin : KD_IN_1_Pin */
  GPIO_InitStruct.Pin = KD_IN_1_Pin;
  GPIO_InitStruct.Mode = GPIO_MODE_INPUT;
  GPIO_InitStruct.Pull = GPIO_NOPULL;
  HAL_GPIO_Init(KD_IN_1_GPIO_Port, &GPIO_InitStruct);

  /*Configure GPIO pins : KD_IN_2_Pin KD_IN_3_Pin KD_IN_4_Pin */
  GPIO_InitStruct.Pin = KD_IN_2_Pin|KD_IN_3_Pin|KD_IN_4_Pin;
  GPIO_InitStruct.Mode = GPIO_MODE_INPUT;
  GPIO_InitStruct.Pull = GPIO_NOPULL;
  HAL_GPIO_Init(GPIOD, &GPIO_InitStruct);

  /*Configure GPIO pin : STANDBY_Pin */
  GPIO_InitStruct.Pin = STANDBY_Pin;
  GPIO_InitStruct.Mode = GPIO_MODE_INPUT;
  GPIO_InitStruct.Pull = GPIO_NOPULL;
  HAL_GPIO_Init(STANDBY_GPIO_Port, &GPIO_InitStruct);

  /*Configure GPIO pin : STANDBY_VERSION_Pin */
  GPIO_InitStruct.Pin = STANDBY_VERSION_Pin;
  GPIO_InitStruct.Mode = GPIO_MODE_INPUT;
  GPIO_InitStruct.Pull = GPIO_PULLDOWN;
  HAL_GPIO_Init(STANDBY_VERSION_GPIO_Port, &GPIO_InitStruct);

}

void Error_Handler(void)
{
  __disable_irq();
  while (1)
  {
  }
}

/************************ (C) COPYRIGHT STMicroelectronics *****END OF FILE****/
